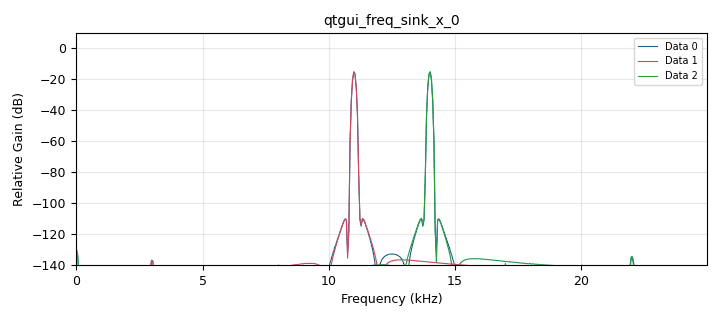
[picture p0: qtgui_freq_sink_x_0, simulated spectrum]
options:
  parameters:
    author: sleepwalker
    generate_options: qt_gui
    id: lab1_1
    output_language: python
    title: Not titled yet
  states: {}

blocks:
- name: ampl_a
  id: variable_qtgui_range
  parameters:
    label: amplitude a
    orient: Qt.Horizontal
    start: '0'
    step: '1'
    stop: '10'
    value: '1'
  states: {}
- name: ampl_b
  id: variable_qtgui_range
  parameters:
    label: amplitude b
    orient: Qt.Horizontal
    start: '0'
    step: '1'
    stop: '10'
    value: '1'
  states: {}
- name: freq_a
  id: variable_qtgui_range
  parameters:
    label: frequence a
    orient: Qt.Horizontal
    start: '0'
    step: '1'
    stop: 25e3
    value: 11e3
  states: {}
- name: freq_b
  id: variable_qtgui_range
  parameters:
    label: frequence b
    orient: Qt.Horizontal
    start: '0'
    step: '1'
    stop: 25e3
    value: 14e3
  states: {}
- name: samp_rate
  id: variable
  parameters:
    value: 50e3
  states: {}
- name: analog_sig_source_x_0
  id: analog_sig_source_x
  parameters:
    amp: ampl_a
    freq: freq_a
    offset: '0'
    phase: '0'
    samp_rate: samp_rate
    type: float
    waveform: analog.GR_COS_WAVE
  states: {}
- name: analog_sig_source_x_0_0
  id: analog_sig_source_x
  parameters:
    amp: ampl_b
    freq: freq_b
    offset: '0'
    phase: '0'
    samp_rate: samp_rate
    type: float
    waveform: analog.GR_SIN_WAVE
  states: {}
- name: blocks_add_xx_0
  id: blocks_add_xx
  parameters:
    type: float
  states: {}
- name: blocks_throttle_0
  id: blocks_throttle
  parameters:
    samples_per_second: samp_rate
    type: float
  states: {}
- name: qtgui_freq_sink_x_0
  id: qtgui_freq_sink_x
  parameters:
    bw: samp_rate
    fc: '0'
    fftsize: '1024'
    freqhalf: 'False'
    nconnections: '3'
    type: float
    wintype: firdes.WIN_BLACKMAN_hARRIS
  states: {}

connections:
- [analog_sig_source_x_0, '0', blocks_add_xx_0, '0']
- [analog_sig_source_x_0, '0', qtgui_freq_sink_x_0, '1']
- [analog_sig_source_x_0_0, '0', blocks_add_xx_0, '1']
- [analog_sig_source_x_0_0, '0', blocks_throttle_0, '0']
- [blocks_add_xx_0, '0', qtgui_freq_sink_x_0, '0']
- [blocks_throttle_0, '0', qtgui_freq_sink_x_0, '2']

metadata:
  file_format: 1
